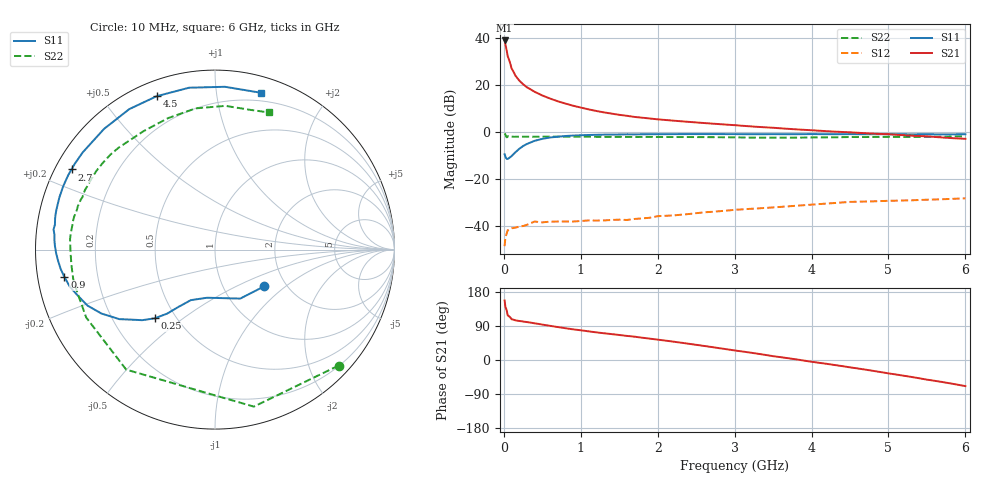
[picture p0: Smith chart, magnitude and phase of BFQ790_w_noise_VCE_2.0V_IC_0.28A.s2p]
! Infineon Technologies  Discrete & RF Semiconductors
! BFQ790
! VCE =  2.0 V,  IC = 0.28 A
! Common Emitter S-Parameters:  May 2015
# GHz  S  MA  R  50
!  f  S11  S21  S12  S22
! GHz  MAG  ANG  MAG  ANG  MAG  ANG  MAG  ANG
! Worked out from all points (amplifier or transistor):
!   77 points, 10 MHz to 6 GHz, reference 50 ohm
!   highest |S21| = 39.0 dB at 10 MHz (marker M1)
!   |S21| within 3 dB of that: start of sweep to 29.23 MHz
!   unconditionally stable (mu >= 1): 204.9 MHz to 397.8 MHz; 404.7 MHz to 596.4 MHz; 600.9 MHz to end of sweep
!   at 130 MHz: K = 0.77, MSG = 33.1 dB, |S12| = -40.6 dB
!   at 2.2 GHz: K = 1.32, MAG = 16.8 dB, |S12| = -35.3 dB
!   at 6 GHz: K = 1.09, MAG = 10.9 dB, |S12| = -28.0 dB
!   lowest NFmin = 3.93 dB at 1.5 GHz
!   S11 on the Smith chart (normalised r, x): 10 MHz: 1.55, -0.72; 250 MHz: 0.38, -0.40; 900 MHz: 0.08, -0.09; 2.7 GHz: 0.05, +0.26; 4.5 GHz: 0.07, +0.69; 6 GHz: 0.13, +1.33
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0.01  0.3413 -37.0  89.59 157.1  0.0038 64.6  0.9442 -43.2
0.02  0.307 -62.7  74.36 140.2  0.0058 51.2  0.9012 -76.1
0.05  0.2719 -99.4  41.56 117.6  0.0083 27.2  0.8317 -126.5
0.1  0.3119 -115.5  22.93 107.7  0.0091 18.2  0.8112 -152.2
0.15  0.3758 -122.3  16.06 104.6  0.0094 17.3  0.8035 -162.6
0.2  0.4456 -126.8  12.6 103.0  0.0099 20.0  0.807 -168.0
0.25  0.5099 -131.3  10.52 101.6  0.0102 19.1  0.8046 -171.7
0.3  0.5651 -135.9  9.061 100.1  0.0108 15.0  0.8042 -174.5
0.4  0.6592 -144.0  7.256 96.8  0.0127 16.5  0.8048 -178.6
0.5  0.7261 -150.6  6.061 93.4  0.0122 10.7  0.8069 178.3
0.6  0.7758 -156.3  5.227 90.2  0.0126 12.5  0.8097 175.8
0.7  0.8058 -161.4  4.569 87.0  0.0127 13.6  0.8088 173.6
0.9  0.8529 -169.7  3.671 80.9  0.0127 11.9  0.8061 170.1
1.1  0.8771 -176.1  3.079 75.7  0.0134 13.9  0.8057 166.7
1.5  0.8983 174.7  2.353 66.0  0.0139 15.9  0.7994 161.0
2.1  0.9123 163.5  1.828 51.2  0.0168 17.5  0.7936 152.0
2.7  0.9158 150.8  1.533 34.3  0.0204 12.9  0.7879 140.1
3.1  0.9117 141.5  1.377 22.5  0.023 7.2  0.7765 130.9
4.1  0.9139 119.3  1.08 -7.4  0.0298 -8.1  0.7784 107.2
4.5  0.9142 110.8  1 -19.4  0.0332 -15.6  0.7942 97.8
5.1  0.909 96.6  0.888 -38.3  0.0352 -29.1  0.8009 83.8
6  0.9105 73.7  0.728 -68.9  0.0396 -50.8  0.8212 68.5
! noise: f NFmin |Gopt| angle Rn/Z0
0.45  6.54  0.52  144  0.63
0.9  4.59  0.65  170  0.19
1.5  3.93  0.74  -171  0.11
1.8  3.97  0.75  -166  0.13
2.6  4.12  0.77  -151  0.34
3.5  4.55  0.85  -134  0.75
